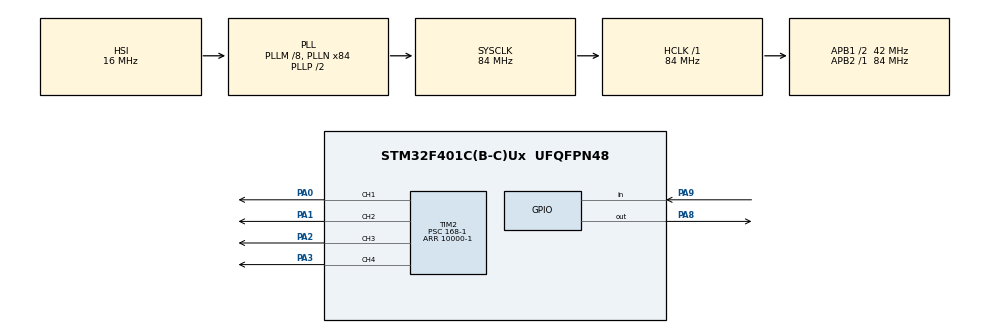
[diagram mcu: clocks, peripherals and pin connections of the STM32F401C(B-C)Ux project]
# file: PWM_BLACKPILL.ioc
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Mcu.Family=STM32F4
Mcu.Name=STM32F401C(B-C)Ux
Mcu.Package=UFQFPN48
NVIC.PriorityGroup=NVIC_PRIORITYGROUP_4
PA0-WKUP.Signal=S_TIM2_CH1_ETR
PA1.Signal=S_TIM2_CH2
PA2.Signal=S_TIM2_CH3
PA3.Signal=S_TIM2_CH4
PA8.Signal=GPIO_Output
PA9.Signal=GPIO_Input
PH0\ -\ OSC_IN.Mode=HSE-External-Oscillator
PH0\ -\ OSC_IN.Signal=RCC_OSC_IN
PH1\ -\ OSC_OUT.Mode=HSE-External-Oscillator
PH1\ -\ OSC_OUT.Signal=RCC_OSC_OUT
ProjectManager.HeapSize=0x200
ProjectManager.StackSize=0x400
ProjectManager.TargetToolchain=STM32CubeIDE
RCC.48MHZClocksFreq_Value=42000000
RCC.AHBFreq_Value=84000000
RCC.APB1CLKDivider=RCC_HCLK_DIV2
RCC.APB1Freq_Value=42000000
RCC.APB1TimFreq_Value=84000000
RCC.APB2Freq_Value=84000000
RCC.APB2TimFreq_Value=84000000
RCC.CortexFreq_Value=84000000
RCC.HCLKFreq_Value=84000000
RCC.HSE_VALUE=25000000
RCC.HSI_VALUE=16000000
RCC.LSE_VALUE=32768
RCC.PLLM=8
RCC.PLLN=84
RCC.SYSCLKFreq_VALUE=84000000
RCC.SYSCLKSource=RCC_SYSCLKSOURCE_PLLCLK
RCC.VCOOutputFreq_Value=168000000
SH.S_TIM2_CH1_ETR.0=TIM2_CH1,PWM Generation1 CH1
SH.S_TIM2_CH2.0=TIM2_CH2,PWM Generation2 CH2
SH.S_TIM2_CH3.0=TIM2_CH3,PWM Generation3 CH3
SH.S_TIM2_CH4.0=TIM2_CH4,PWM Generation4 CH4
TIM2.Channel-PWM\ Generation1\ CH1=TIM_CHANNEL_1
TIM2.Channel-PWM\ Generation2\ CH2=TIM_CHANNEL_2
TIM2.Channel-PWM\ Generation3\ CH3=TIM_CHANNEL_3
TIM2.Channel-PWM\ Generation4\ CH4=TIM_CHANNEL_4
TIM2.Period=10000-1
TIM2.Prescaler=168-1
VP_TIM2_VS_ClockSourceINT.Mode=Internal
board=custom

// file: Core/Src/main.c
/* USER CODE BEGIN Header */
/**
  ******************************************************************************
  * @file           : main.c
  * @brief          : Main program body
  ******************************************************************************
  * @attention
  *
  * Copyright (c) 2024 STMicroelectronics.
  * All rights reserved.
  *
  * This software is licensed under terms that can be found in the LICENSE file
  * in the root directory of this software component.
  * If no LICENSE file comes with this software, it is provided AS-IS.
  *
  ******************************************************************************
  */
/* USER CODE END Header */
#include "main.h"
#include "tim.h"
#include "gpio.h"

/* USER CODE BEGIN Includes */
#include <stdio.h>
/* USER CODE END Includes */

/* USER CODE BEGIN PD */
#define PWM_MAX 4095
#define PWM_MIN 0
/* USER CODE END PD */

void SystemClock_Config(void);

/* USER CODE BEGIN 0 */

// Function to read distance from ultrasonic sensor
float readDistance(void)
{
    // Trigger the sensor
    HAL_GPIO_WritePin(GPIOA, GPIO_PIN_8, GPIO_PIN_SET);
    HAL_Delay(1); // 1 ms delay, you might need a more precise delay for microseconds
    HAL_GPIO_WritePin(GPIOA, GPIO_PIN_8, GPIO_PIN_RESET);

    // Measure the echo pulse width
    uint32_t start_time = __HAL_TIM_GET_COUNTER(&htim2);
    uint32_t timeout = 1000000; // 1 second timeout in microseconds

    // Wait for the echo pin to go high
    while (HAL_GPIO_ReadPin(GPIOA, GPIO_PIN_9) == GPIO_PIN_RESET)
    {
        if ((__HAL_TIM_GET_COUNTER(&htim2) - start_time) > timeout) return -1; // Timeout
    }

    start_time = __HAL_TIM_GET_COUNTER(&htim2);
    // Wait for the echo pin to go low
    while (HAL_GPIO_ReadPin(GPIOA, GPIO_PIN_9) == GPIO_PIN_SET)
    {
        if ((__HAL_TIM_GET_COUNTER(&htim2) - start_time) > timeout) return -1; // Timeout
    }
    uint32_t end_time = __HAL_TIM_GET_COUNTER(&htim2);

    // Calculate the distance in cm
    float pulse_duration = (float)(end_time - start_time); // Pulse duration in microseconds
    float distance = pulse_duration * 0.034 / 2.0; // Speed of sound is 0.034 cm/us

    return distance;
}
// Function to set PWM value with boundaries
void setPWM(TIM_HandleTypeDef* htim, uint32_t channel, uint32_t value) {
    if (value > PWM_MAX) value = PWM_MAX;
    if (value < PWM_MIN) value = PWM_MIN;
    __HAL_TIM_SET_COMPARE(htim, channel, value);
}

/* USER CODE END 0 */

int main(void)
{
    HAL_Init();
    SystemClock_Config();
    MX_GPIO_Init();
    MX_TIM2_Init();

    // Start PWM channels
    HAL_TIM_PWM_Start(&htim2, TIM_CHANNEL_1);
    HAL_TIM_PWM_Start(&htim2, TIM_CHANNEL_2);
    HAL_TIM_PWM_Start(&htim2, TIM_CHANNEL_3);
    HAL_TIM_PWM_Start(&htim2, TIM_CHANNEL_4);

    while (1)
    {
        float current_distance = readDistance();
        if (current_distance < 0)
        {
            printf("Ultrasonic sensor timeout\n");
            continue;
        }

        // Determine the direction based on the distance
        if (current_distance < 10.0)
        {
            printf("Distance < 10 cm: Moving backward\n");
            setPWM(&htim2, TIM_CHANNEL_1, 0);
            setPWM(&htim2, TIM_CHANNEL_3, 1500);
            setPWM(&htim2, TIM_CHANNEL_2, 1500);
            setPWM(&htim2, TIM_CHANNEL_4, 0);

        }
        else
        {
            printf("Distance >= 10 cm: Moving forward\n");
            setPWM(&htim2, TIM_CHANNEL_1, 1500);
            setPWM(&htim2, TIM_CHANNEL_3, 0);
            setPWM(&htim2, TIM_CHANNEL_2, 0);
            setPWM(&htim2, TIM_CHANNEL_4, 1500);

        }

        // Small delay to allow motor movement
        HAL_Delay(50);

        // Delay for 2 seconds
        HAL_Delay(2000);
    }
}

void SystemClock_Config(void)
{
  RCC_OscInitTypeDef RCC_OscInitStruct = {0};
  RCC_ClkInitTypeDef RCC_ClkInitStruct = {0};

  /** Configure the main internal regulator output voltage
  */
  __HAL_RCC_PWR_CLK_ENABLE();
  __HAL_PWR_VOLTAGESCALING_CONFIG(PWR_REGULATOR_VOLTAGE_SCALE2);

  /** Initializes the RCC Oscillators according to the specified parameters
  * in the RCC_OscInitTypeDef structure.
  */
  RCC_OscInitStruct.OscillatorType = RCC_OSCILLATORTYPE_HSI;
  RCC_OscInitStruct.HSIState = RCC_HSI_ON;
  RCC_OscInitStruct.HSICalibrationValue = RCC_HSICALIBRATION_DEFAULT;
  RCC_OscInitStruct.PLL.PLLState = RCC_PLL_ON;
  RCC_OscInitStruct.PLL.PLLSource = RCC_PLLSOURCE_HSI;
  RCC_OscInitStruct.PLL.PLLM = 8;
  RCC_OscInitStruct.PLL.PLLN = 84;
  RCC_OscInitStruct.PLL.PLLP = RCC_PLLP_DIV2;
  RCC_OscInitStruct.PLL.PLLQ = 4;
  if (HAL_RCC_OscConfig(&RCC_OscInitStruct) != HAL_OK)
  {
    Error_Handler();
  }

  /** Initializes the CPU, AHB and APB buses clocks
  */
  RCC_ClkInitStruct.ClockType = RCC_CLOCKTYPE_HCLK|RCC_CLOCKTYPE_SYSCLK
                              |RCC_CLOCKTYPE_PCLK1|RCC_CLOCKTYPE_PCLK2;
  RCC_ClkInitStruct.SYSCLKSource = RCC_SYSCLKSOURCE_PLLCLK;
  RCC_ClkInitStruct.AHBCLKDivider = RCC_SYSCLK_DIV1;
  RCC_ClkInitStruct.APB1CLKDivider = RCC_HCLK_DIV2;
  RCC_ClkInitStruct.APB2CLKDivider = RCC_HCLK_DIV1;

  if (HAL_RCC_ClockConfig(&RCC_ClkInitStruct, FLASH_LATENCY_2) != HAL_OK)
  {
    Error_Handler();
  }
}

void Error_Handler(void)
{
  __disable_irq();
  while (1)
  {
  }
}
